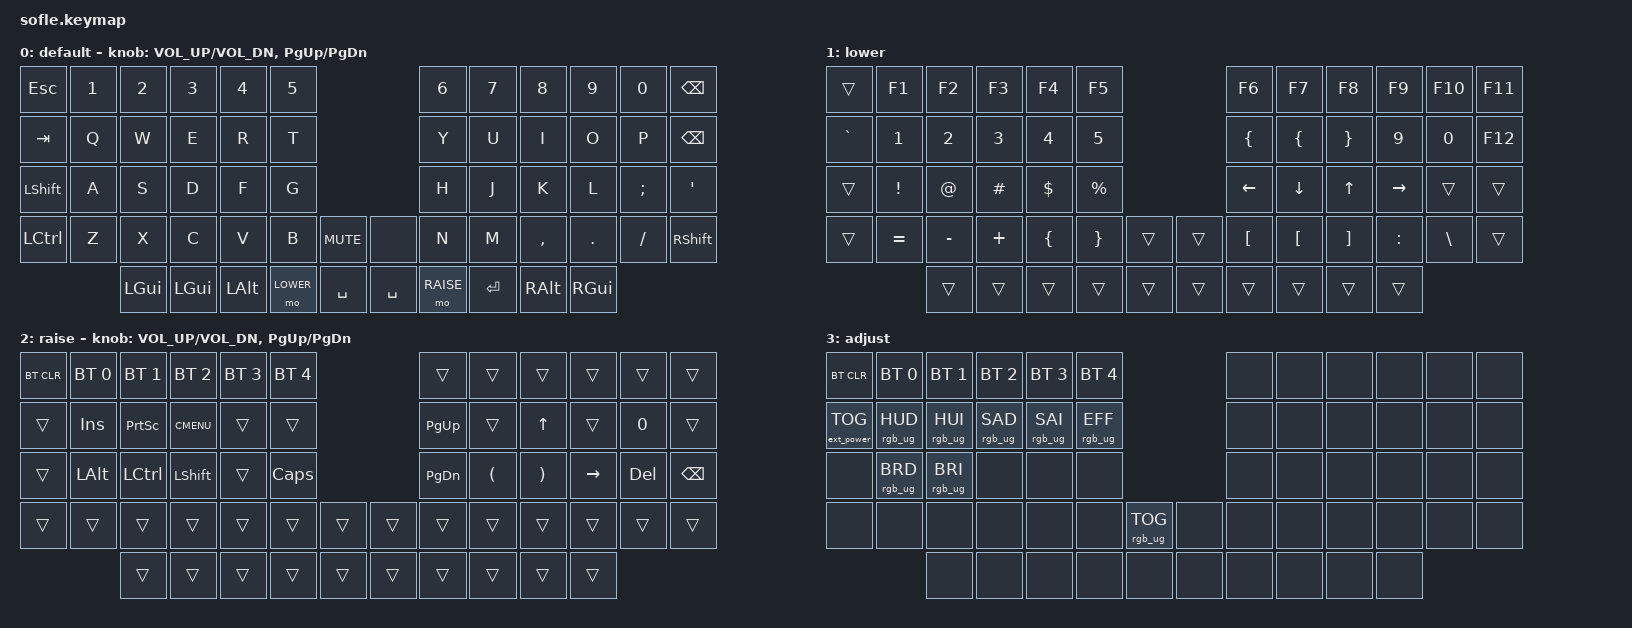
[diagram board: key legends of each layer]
/*
 * Copyright (c) 2020 The ZMK Contributors
 *
 * SPDX-License-Identifier: MIT
 */

#include <behaviors.dtsi>
#include <dt-bindings/zmk/bt.h>
#include <dt-bindings/zmk/ext_power.h>
#include <dt-bindings/zmk/keys.h>
#include <dt-bindings/zmk/rgb.h>

#define BASE 0
#define LOWER 1
#define RAISE 2
#define ADJUST 3

/ {
    conditional_layers {
        compatible = "zmk,conditional-layers";

        adjust_layer {
            if-layers = <LOWER RAISE>;
            then-layer = <ADJUST>;
        };
    };

    keymap {
        compatible = "zmk,keymap";

        default_layer {
            display-name = "default";

            bindings = <
&kp ESC    &kp N1  &kp N2    &kp N3    &kp N4    &kp N5                              &kp N6     &kp N7     &kp N8     &kp N9    &kp N0    &kp BSPC
&kp TAB    &kp Q   &kp W     &kp E     &kp R     &kp T                               &kp Y      &kp U      &kp I      &kp O     &kp P     &kp BSPC
&kp LSHFT  &kp A   &kp S     &kp D     &kp F     &kp G                               &kp H      &kp J      &kp K      &kp L     &kp SEMI  &kp SQT
&kp LCTRL  &kp Z   &kp X     &kp C     &kp V     &kp B      &kp C_MUTE   &none      &kp N      &kp M      &kp COMMA  &kp DOT   &kp FSLH  &kp RSHFT
                   &kp LGUI  &kp LGUI  &kp LALT  &mo LOWER  &kp SPACE     &kp SPACE  &mo RAISE  &kp ENTER  &kp RALT   &kp RGUI
            >;

            sensor-bindings = <&inc_dec_kp C_VOL_UP C_VOL_DN &inc_dec_kp PG_UP PG_DN>;
        };

        lower_layer {
            display-name = "lower";

            bindings = <
&trans     &kp F1     &kp F2     &kp F3    &kp F4    &kp F5                       &kp F6    &kp F7    &kp F8    &kp F9    &kp F10   &kp F11
&kp GRAVE  &kp N1     &kp N2     &kp N3    &kp N4    &kp N5                       &kp LBRC  &kp LBRC  &kp RBRC  &kp N9    &kp N0    &kp F12
&trans     &kp EXCL   &kp AT     &kp HASH  &kp DLLR  &kp PRCNT                    &kp LEFT  &kp DOWN  &kp UP    &kp RIGHT &trans    &trans
&trans     &kp EQUAL  &kp MINUS  &kp PLUS  &kp LBRC  &kp RBRC   &trans   &trans   &kp LBKT  &kp LBKT  &kp RBKT  &kp COLON &kp BSLH  &trans
                      &trans     &trans    &trans    &trans     &trans   &trans   &trans   &trans    &trans    &trans
            >;
        };

        raise_layer {
            display-name = "raise";

            bindings = <
&bt BT_CLR  &bt BT_SEL 0  &bt BT_SEL 1  &bt BT_SEL 2  &bt BT_SEL 3  &bt BT_SEL 4                    &trans &trans &trans &trans &trans &trans
&trans      &kp INS       &kp PSCRN     &kp K_CMENU   &trans        &trans                          &kp PG_UP &trans &kp UP &trans &kp N0 &trans
&trans      &kp LALT      &kp LCTRL     &kp LSHFT     &trans        &kp CLCK                        &kp PG_DN &kp LPAR &kp RPAR &kp RIGHT &kp DEL &kp BSPC
&trans      &trans        &trans        &trans        &trans        &trans        &trans &trans &trans &trans &trans &trans &trans &trans
                          &trans        &trans        &trans        &trans        &trans &trans &trans &trans &trans &trans
            >;

            sensor-bindings = <&inc_dec_kp C_VOL_UP C_VOL_DN &inc_dec_kp PG_UP PG_DN>;
        };

        adjust_layer {
            display-name = "adjust";

            bindings = <
&bt BT_CLR        &bt BT_SEL 0   &bt BT_SEL 1   &bt BT_SEL 2   &bt BT_SEL 3   &bt BT_SEL 4        &none &none &none &none &none &none
&ext_power EP_TOG &rgb_ug RGB_HUD &rgb_ug RGB_HUI &rgb_ug RGB_SAD &rgb_ug RGB_SAI &rgb_ug RGB_EFF &none &none &none &none &none &none
&none             &rgb_ug RGB_BRD &rgb_ug RGB_BRI &none          &none          &none            &none &none &none &none &none &none
&none             &none           &none           &none          &none          &none            &rgb_ug RGB_TOG &none &none &none &none &none &none &none
                                   &none           &none           &none          &none          &none &none &none &none &none &none
            >;
        };
    };
};
